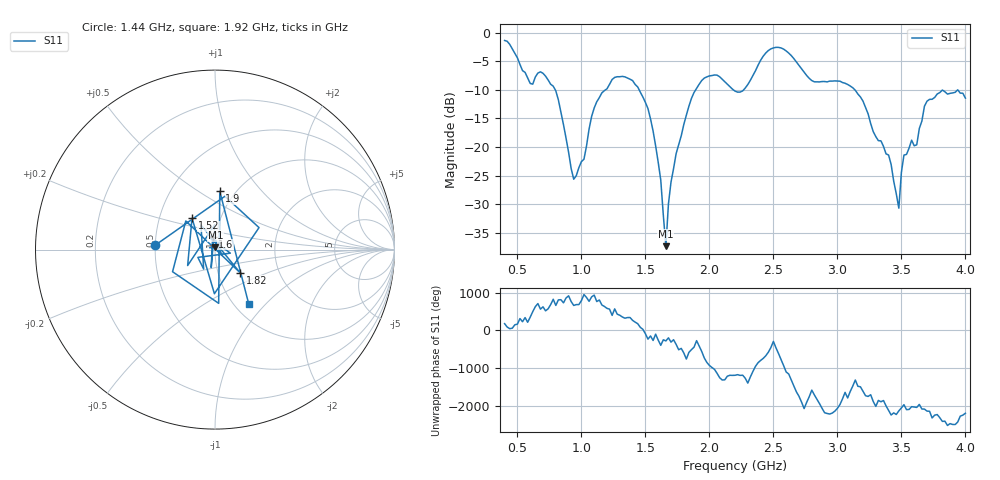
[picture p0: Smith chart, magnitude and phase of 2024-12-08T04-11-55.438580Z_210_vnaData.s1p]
!Created with skrf (http://scikit-rf.org).
# Hz S RI R 50.0
!freq ReS11 ImS11
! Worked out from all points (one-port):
!   181 points, 400 MHz to 4 GHz, reference 50 ohm
!   lowest |S11| = -37.3 dB at 1.66 GHz (marker M1), VSWR 1.03, Z = 50.3 + j1.35 ohm
!   |S11| at or under -10 dB: 795.7 MHz to 1.188 GHz (392.6 MHz wide, 39.6 % of centre); 1.451 GHz to 1.893 GHz (441.6 MHz wide, 26.4 % of centre); 3.137 GHz to 3.94 GHz (803.2 MHz wide, 22.7 % of centre) (the widest 3 of 5)
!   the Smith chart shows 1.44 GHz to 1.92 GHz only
!   S11 on the Smith chart (normalised r, x): 1.44 GHz: 0.50, +0.03; 1.52 GHz: 0.73, +0.27; 1.6 GHz: 0.96, +0.14; 1.82 GHz: 1.27, -0.34; 1.9 GHz: 0.85, +0.62; 1.92 GHz: 1.17, -0.80
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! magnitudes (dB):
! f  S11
! 400 MHz  -1.4
! 600 MHz  -8.9
! 780 MHz  -9.4
! 860 MHz  -16.1
! 940 MHz  -25.6
! 1.02 GHz  -22.1
! 1.12 GHz  -12.1
! 1.3 GHz  -7.7
! 1.44 GHz  -9.5
! 1.52 GHz  -13.3
! 1.6 GHz  -22.6
! 1.66 GHz  -37.3
! 1.7 GHz  -26.1
! 1.76 GHz  -19.6
! 1.82 GHz  -14.4
! 1.9 GHz  -9.7
! 1.92 GHz  -9.0
! 2.2 GHz  -10.2
! 2.48 GHz  -2.9
! 2.66 GHz  -4.6
! 3.1 GHz  -9.3
! 3.4 GHz  -21.4
! 3.48 GHz  -30.7
! 3.52 GHz  -21.4
! 3.56 GHz  -20.2
! 3.62 GHz  -19.6
! 3.7 GHz  -12.0
! 4 GHz  -11.4
